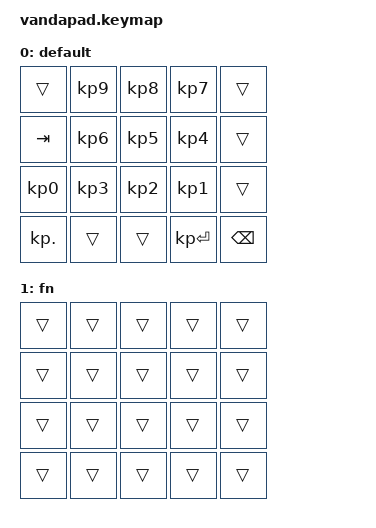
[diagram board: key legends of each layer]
/*
 * Copyright (c) 2021 The ZMK Contributors
 *
 * SPDX-License-Identifier: MIT
 */

#include <behaviors.dtsi>
#include <dt-bindings/zmk/keys.h>
#include <dt-bindings/zmk/bt.h>
#include <dt-bindings/zmk/outputs.h>

#define TIMEOUT 300

#define XXX &none
#define ___ &trans


/ {
    keymap: keymap {
        compatible = "zmk,keymap";

        default_layer {
            display-name = "default";
            bindings = <
            //╭───────────┬───────────┬───────────┬───────────┬───────────╮ 
                ___         &kp KP_N9   &kp KP_N8   &kp KP_N7   ___     
            //├───────────┼───────────┼───────────┼───────────┼───────────┤
                &kp TAB     &kp KP_N6   &kp KP_N5   &kp KP_N4   ___     
            //├───────────┼───────────┼───────────┼───────────┼───────────┤
                &kp KP_N0   &kp KP_N3   &kp KP_N2   &kp KP_N1   ___     
            //├───────────┼───────────┼───────────┼───────────┼───────────┤
                &kp KP_DOT  ___         ___        &kp KP_ENTER &kp BSPC      
            //╰───────────┴───────────┴───────────┴───────────┴───────────╯
            >;
        };

        fn_layer {
            display-name = "fn";
            bindings = <
            //╭───────────┬───────────┬───────────┬───────────┬───────────╮ 
                ___         ___         ___         ___         ___     
            //├───────────┼───────────┼───────────┼───────────┼───────────┤
                ___         ___         ___         ___         ___     
            //├───────────┼───────────┼───────────┼───────────┼───────────┤
                ___         ___         ___         ___         ___     
            //├───────────┼───────────┼───────────┼───────────┼───────────┤
                ___         ___         ___         ___         ___     
            //╰───────────┴───────────┴───────────┴───────────┴───────────╯
            >;
        };

    };
};
